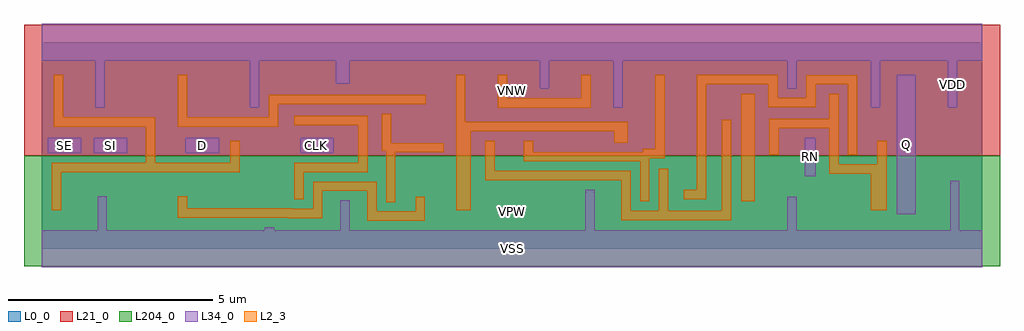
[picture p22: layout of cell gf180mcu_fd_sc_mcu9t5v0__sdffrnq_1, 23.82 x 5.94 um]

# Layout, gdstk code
import gdstk
lib = gdstk.Library(unit=1e-6, precision=1e-09)
def R(c, l, rs):  # rectangles x0, y0, x1, y1
    for r in rs: c.add(gdstk.rectangle(r[:2], r[2:], *l))
L0_0 = (0, 0)
L2_3 = (2, 3)
L21_0 = (21, 0)
L34_0 = (34, 0)
L204_0 = (204, 0)

gf180mcu_fd_sc_mcu9t5v0_ = lib.new_cell('gf180mcu_fd_sc_mcu9t5v0__sdffrnq_1')
R(gf180mcu_fd_sc_mcu9t5v0_, L0_0, [(0,0,22.96,5.04)])
R(gf180mcu_fd_sc_mcu9t5v0_, L2_3, [(7.945,0.68,9.355,0.91), (14.145,0.695,16.83,0.925), (6.025,0.75,6.855,0.76), (3.325,0.76,6.855,0.98), (7.945,0.91,8.175,1.41), (9.125,0.91,9.355,1.275), (14.145,0.925,14.375,1.67), (15.065,0.925,15.295,1.955), (16.6,0.925,16.83,3.15), (0.245,0.945,0.475,1.87), (10.115,0.945,10.475,2.865), (20.24,0.945,20.63,1.835), (3.325,0.98,6.095,0.99), (6.625,0.98,6.855,1.41), (3.325,0.99,3.555,1.285), (8.405,1.14,8.635,2.35), (14.605,1.155,14.835,2.13), (17.08,1.155,17.41,3.78), (6.165,1.21,6.395,1.87), (15.67,1.21,16.225,1.44), (6.625,1.41,8.175,1.64), (15.995,1.44,16.225,4.02), (10.825,1.67,14.375,1.9), (19.22,1.835,20.63,2.065), (0.245,1.87,4.835,2.1), (6.165,1.87,7.955,2.1), (10.825,1.9,11.055,2.635), (19.22,2.065,19.45,2.94), (20.4,2.065,20.63,2.635), (2.545,2.1,2.775,2.98), (4.605,2.1,4.835,2.635), (7.725,2.1,7.955,3.01), (11.765,2.13,14.835,2.205), (11.765,2.205,15.205,2.36), (17.76,2.295,17.99,2.94), (19.68,2.295,19.91,4.01), (8.405,2.35,9.82,2.39), (11.765,2.36,11.995,2.635), (14.665,2.36,15.205,2.435), (8.305,2.39,9.82,2.58), (14.975,2.435,15.205,4.25), (8.305,2.58,8.535,3.295), (13.97,2.59,14.31,2.865), (10.115,2.865,14.31,3.095), (17.76,2.94,19.45,3.17), (0.295,2.98,2.775,3.21), (3.325,2.98,5.775,3.21), (6.16,3.01,7.955,3.24), (10.115,3.095,10.345,4.25), (19.22,3.17,19.45,3.78), (0.295,3.21,0.525,4.25), (3.325,3.21,3.555,4.25), (5.545,3.21,5.775,3.525), (11.135,3.44,13.405,3.67), (17.74,3.45,18.89,3.68), (5.545,3.525,9.38,3.755), (11.135,3.67,11.365,4.25), (13.175,3.67,13.405,4.25), (17.74,3.68,17.97,4.02), (18.66,3.68,18.89,4.01), (18.66,4.01,19.91,4.24), (15.995,4.02,17.97,4.25)])
R(gf180mcu_fd_sc_mcu9t5v0_, L21_0, [(-0.43,2.265,23.39,5.47)])
R(gf180mcu_fd_sc_mcu9t5v0_, L34_0, [(0,-0.45,22.96,0.45), (1.365,0.45,1.595,1.285), (5.45,0.45,5.68,0.53), (7.285,0.45,7.515,1.18), (13.265,0.45,13.495,1.44), (18.2,0.45,18.43,1.275), (22.17,0.45,22.4,1.655), (20.87,0.845,21.33,4.25), (18.63,1.77,18.89,2.71), (0.15,2.33,0.97,2.71), (1.27,2.33,2.09,2.71), (3.51,2.33,4.33,2.71), (6.31,2.33,7.13,2.71), (1.315,3.44,1.545,4.59), (5.085,3.44,5.315,4.59), (13.955,3.44,14.185,4.59), (20.24,3.44,20.47,4.59), (22.12,3.44,22.35,4.59), (12.155,3.91,12.385,4.59), (18.2,3.91,18.43,4.59), (7.18,4.03,7.52,4.59), (0,4.59,22.96,5.49)])
R(gf180mcu_fd_sc_mcu9t5v0_, L204_0, [(-0.43,-0.43,23.39,2.265)])
gf180mcu_fd_sc_mcu9t5v0_.add(gdstk.Label('D', (3.92,2.52), layer=34, texttype=10))
gf180mcu_fd_sc_mcu9t5v0_.add(gdstk.Label('RN', (18.76,2.24), layer=34, texttype=10))
gf180mcu_fd_sc_mcu9t5v0_.add(gdstk.Label('SE', (0.56,2.52), layer=34, texttype=10))
gf180mcu_fd_sc_mcu9t5v0_.add(gdstk.Label('SI', (1.68,2.52), layer=34, texttype=10))
gf180mcu_fd_sc_mcu9t5v0_.add(gdstk.Label('CLK', (6.72,2.52), layer=34, texttype=10))
gf180mcu_fd_sc_mcu9t5v0_.add(gdstk.Label('Q', (21.1,2.547), layer=34, texttype=10))
gf180mcu_fd_sc_mcu9t5v0_.add(gdstk.Label('VDD', (22.235,4.015), layer=34, texttype=10))
gf180mcu_fd_sc_mcu9t5v0_.add(gdstk.Label('VSS', (11.48,0), layer=34, texttype=10))
gf180mcu_fd_sc_mcu9t5v0_.add(gdstk.Label('VNW', (11.48,3.867), layer=3, texttype=1))
gf180mcu_fd_sc_mcu9t5v0_.add(gdstk.Label('VPW', (11.48,0.917), layer=4, texttype=1))

lib.write_gds('gf180mcu_fd_sc_mcu9t5v0__sdffrnq_1.gds')
